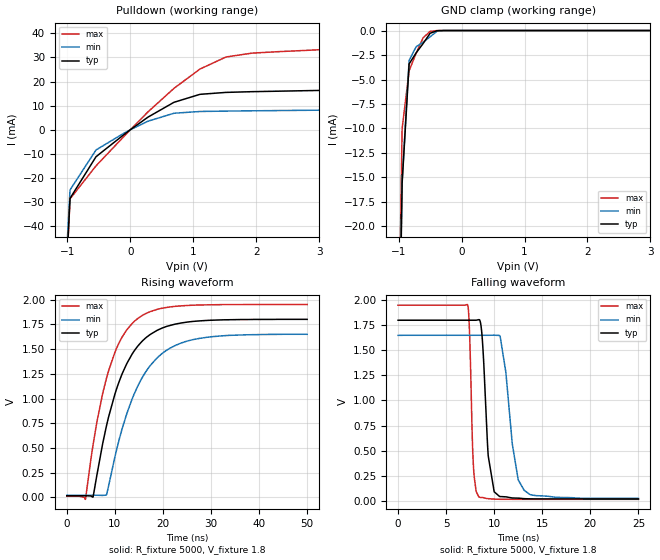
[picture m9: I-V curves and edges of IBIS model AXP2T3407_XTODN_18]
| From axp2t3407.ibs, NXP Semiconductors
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|   Model AXP2T3407_XTODN_18
[Model]   AXP2T3407_XTODN_18
Model_type   Open_drain
Polarity   Non-Inverting
Vmeas =  0.9V
Cref  =  5e-12
Rref  =  10e+3
Vref  =  1.8V
C_comp   1.0330pF   0.8842pF   1.1700pF
[Model Spec]
| Note: The input and output voltage ratings may be exceeded if the input and
|   output current ratings are observed (please refer to the data sheet)
|   Subparameter   typ   min   max
| Timing Thresholds
Vmeas   0.9   0.825   0.975
|Ambient temperature:   25   85   -40
[Temperature Range]   30   90   -35
[Voltage Range]   1.8   1.65   1.95
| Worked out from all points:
|   slope of the pulldown table from 0 to 0.27 V, typ, clamps not added: 53.6 ohm
|   GND clamp passes 1 mA (typ) near -0.58 V on its own axis
|   rising waveform, R_fixture 5000, V_fixture 1.8: 20-80 % time 6.7ns typ, 7.48ns min, 5.82ns max; typ from 0.017 V to 1.8 V
|   falling waveform, R_fixture 5000, V_fixture 1.8: 20-80 % time 632ps typ, 1.12ns min, 335ps max; typ from 1.8 V to 0.017 V
|Process Range   nominal   slow   fast
[GND_clamp]
|   voltage   I(typ)   I(min)   I(max)
-5.5V     -2.957A    -2.756A    -3.17A
-1.056V   -61.76mA   -55.78mA   -55.53mA
-944.4mV  -15.58mA   -15.37mA   -10.03mA
-833.3mV  -3.412mA   -3.048mA   -4.112mA
-722.2mV  -2.287mA   -1.662mA   -2.321mA
-611.1mV  -1.33mA    -1.186mA   -742.4uA
-500mV    -281.9uA   -644uA     -90.52uA
-388.9mV  -19.05uA   -70.75uA   -2.215uA
-277.8mV  -361.8nA   -2.29uA    -18.12nA
11V       0A         0A         0A
[Pulldown]
|   voltage   I(typ)   I(min)   I(max)
-5.5V     -2.957A    -2.756A    -3.171A
-1.371V   -248mA     -226mA     -259mA
-958mV    -28.5mA    -25mA      -28.7mA
-545mV    -11.2mA    -8.39mA    -15mA
281mV     5.24mA     3.55mA     7.43mA
694mV     11.4mA     6.85mA     17.2mA
1.52V     15.5mA     7.74mA     30.2mA
5.649V    18.2mA     9.16mA     36.5mA
6.887V    20.8mA     10.6mA     40.8mA
7.3V      22.2mA     11.3mA     43mA
8.952V    29.5mA     15.2mA     55.7mA
11V       42.5mA     22.1mA     78.2mA
[Ramp]
| variable   typ   min   max
dV/dt_r  1.0820E+00/6.7880E-09  9.8290E-01/7.5770E-09  1.1870E+00/5.8860E-09
dV/dt_f  1.0820E+00/5.7280E-10  9.8290E-01/1.0060E-09  1.1870E+00/3.4810E-10
R_load = 5000
[Rising Waveform]
R_fixture   = 5000
V_fixture   = 1.8
V_fixture_min = 1.65
V_fixture_max = 1.95
| time   V(typ)   V(min)   V(max)
0s        17.46mV    22.74mV    13.65mV
3.88ns    17.45mV    22.74mV    -18.79mV
5.48ns    6.739mV    22.74mV    537.7mV
6.24ns    220.7mV    22.77mV    758.3mV
8.24ns    720.7mV    26.42mV    1.202V
11.24ns   1.216V     647.5mV    1.597V
14.64ns   1.522V     1.113V     1.804V
18.88ns   1.691V     1.415V     1.902V
25ns      1.772V     1.58V      1.94V
50ns      1.8V       1.649V     1.95V
[Falling Waveform]
R_fixture   = 5000
V_fixture   = 1.8
V_fixture_min = 1.65
V_fixture_max = 1.95
| time   V(typ)   V(min)   V(max)
0s        1.8V       1.649V     1.95V
7.24ns    1.8V       1.65V      1.953V
7.84ns    1.8V       1.65V      346.6mV
8.4ns     1.806V     1.65V      38.46mV
8.78ns    1.589V     1.65V      32.07mV
9.38ns    445.8mV    1.65V      20.39mV
10ns      88.61mV    1.651V     15.67mV
10.62ns   41.25mV    1.639V     14.09mV
13.12ns   20.25mV    103.3mV    13.65mV
25ns      17.46mV    22.75mV    13.65mV
